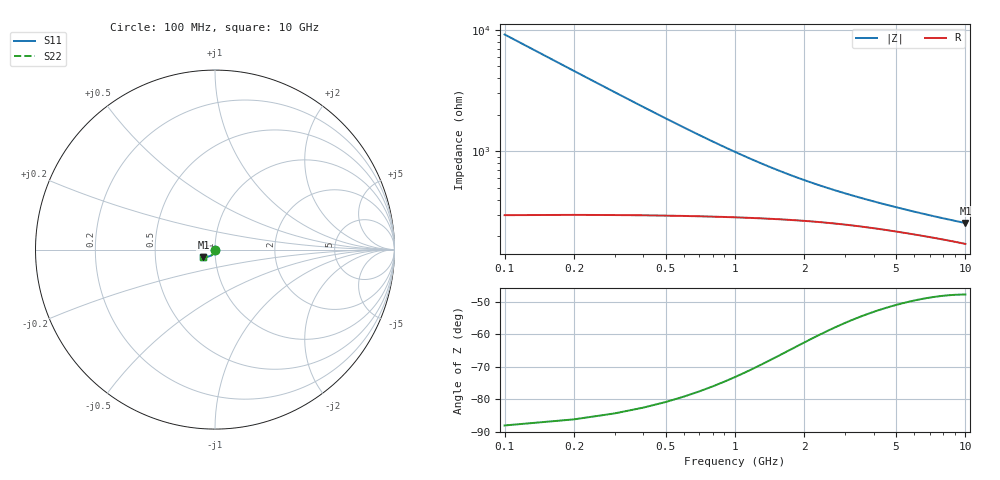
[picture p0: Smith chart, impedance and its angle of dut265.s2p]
! Touchstone file exported from HFSS 2024.1.0
!  File:  C:/UserFiles/LocalFiles/RDL_TSV_Batchsim/temp_TSV1_265_1778769624.aedt
!  Generated:  10:44:22 PM May 14, 2026
!  Design:  TSV1
!  Project:  temp_TSV1_265_1778769624
!  Setup:  Setup1
!  Solution:  Sweep
! Variables:
!  dtsv = 22.34um
!  hbump = 3um
!  htsv = 64.18um
!  lrdl = 252.1521522um
!  p = 40
!  p1 = 57.21um
!  t = 500um
!  trdl = 3um
!  wrdl = 24.89489489um
# GHz S MA R 50.000000
! Terminal data exported
! Port[1] = TSV22_T1
! Port[2] = TSV22_T2
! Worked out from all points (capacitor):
!   100 points, 100 MHz to 10 GHz, reference 50 ohm
!   read as one part in shunt: C = 174 fF near 100 MHz
!   lowest |Z| = 258 ohm at 10 GHz (marker M1)
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0.1  0.002456 -90.6  0.9998 -0.2  0.9998 -0.2  0.002456 -90.6
! Gamma 0 0 0 0
! Port Impedance 50 0 50 0
0.2  0.0049 -93.5  0.9995 -0.3  0.9995 -0.3  0.0049 -93.5
0.3  0.007321 -95.9  0.9991 -0.5  0.9991 -0.5  0.007321 -95.9
0.4  0.009705 -98.0  0.9984 -0.7  0.9984 -0.7  0.009705 -98.0
0.5  0.01204 -100.1  0.9976 -0.8  0.9976 -0.8  0.01204 -100.1
0.6  0.01432 -102.1  0.9967 -1.0  0.9967 -1.0  0.01432 -102.1
0.7  0.01653 -104.0  0.9957 -1.1  0.9957 -1.1  0.01653 -104.0
0.8  0.01867 -105.9  0.9946 -1.3  0.9946 -1.3  0.01867 -105.9
0.9  0.02072 -107.6  0.9934 -1.4  0.9934 -1.4  0.02072 -107.6
1.1  0.02459 -111.0  0.991 -1.6  0.991 -1.6  0.02459 -111.0
1.4  0.02978 -115.4  0.9871 -1.9  0.9871 -1.9  0.02978 -115.4
1.6  0.03284 -118.0  0.9845 -2.1  0.9845 -2.1  0.03284 -118.0
1.8  0.03563 -120.4  0.982 -2.3  0.982 -2.3  0.03563 -120.4
2.1  0.03935 -123.4  0.9784 -2.5  0.9784 -2.5  0.03935 -123.4
2.5  0.0436 -126.9  0.974 -2.7  0.974 -2.7  0.0436 -126.9
2.9  0.04723 -129.6  0.9701 -2.9  0.9701 -2.9  0.04723 -129.6
3.4  0.05112 -132.4  0.9658 -3.1  0.9658 -3.1  0.05112 -132.4
4.2  0.05631 -135.9  0.96 -3.4  0.96 -3.4  0.05631 -135.9
5.1  0.06107 -138.8  0.9546 -3.7  0.9546 -3.7  0.06107 -138.8
6.7  0.06766 -142.5  0.9471 -4.2  0.9471 -4.2  0.06766 -142.5
8.4  0.07291 -145.3  0.9411 -4.7  0.9411 -4.7  0.07291 -145.3
10  0.07677 -147.1  0.9367 -5.1  0.9367 -5.1  0.07677 -147.1
